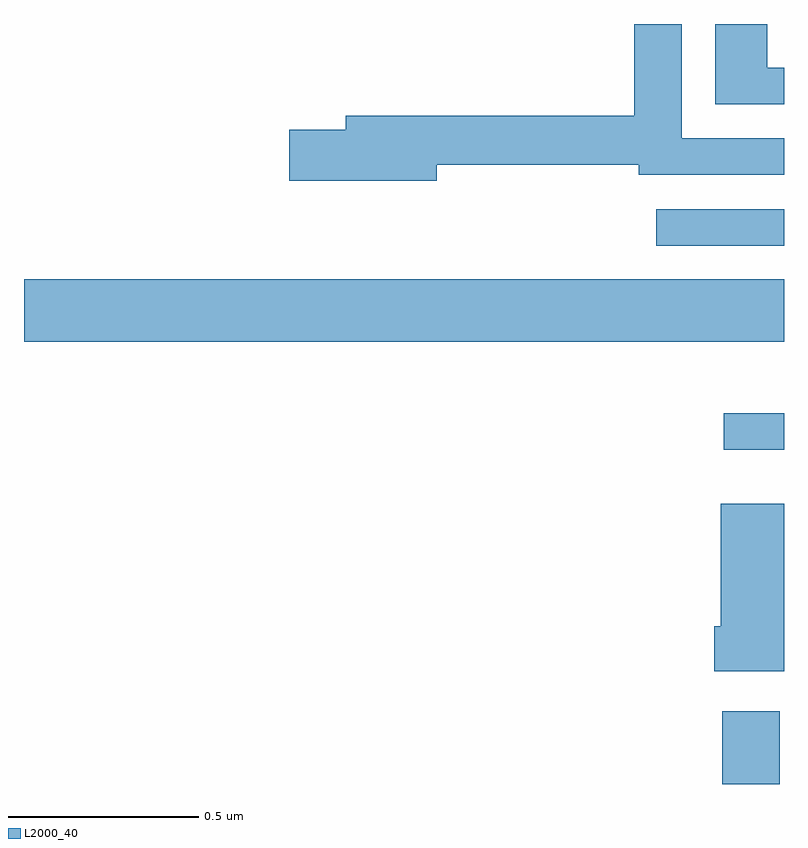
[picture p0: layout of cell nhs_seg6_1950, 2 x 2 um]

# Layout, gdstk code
import gdstk
lib = gdstk.Library(unit=1e-6, precision=1e-09)
def R(c, l, rs):  # rectangles x0, y0, x1, y1
    for r in rs: c.add(gdstk.rectangle(r[:2], r[2:], *l))
def P(c, l, *ps):  # polygons
    for p in ps: c.add(gdstk.Polygon(p, *l))
L2000_40 = (2000, 40)

nhs_seg6_1950 = lib.new_cell('nhs_seg6_1950')
R(nhs_seg6_1950, L2000_40, [(137.837,951.5,137.989,951.691), (137.841,952.379,138,952.476), (136,952.664,138,952.828), (137.664,952.917,138,953.013)])
P(nhs_seg6_1950, L2000_40, [(137.086,953.13),(137.618,953.13),(137.618,953.103),(138,953.103),(138,953.199),(137.731,953.199),(137.731,953.5),(137.606,953.5),(137.606,953.258),(136.847,953.258),(136.847,953.222),(136.698,953.222),(136.698,953.087),(137.086,953.087)],
  [(138,953.385),(137.956,953.385),(137.956,953.5),(137.819,953.5),(137.819,953.289),(138,953.289)],
  [(138,952.237),(137.834,952.237),(137.834,951.915),(137.816,951.915),(137.816,951.797),(138,951.797)])

lib.write_gds('nhs_seg6_1950.gds')
